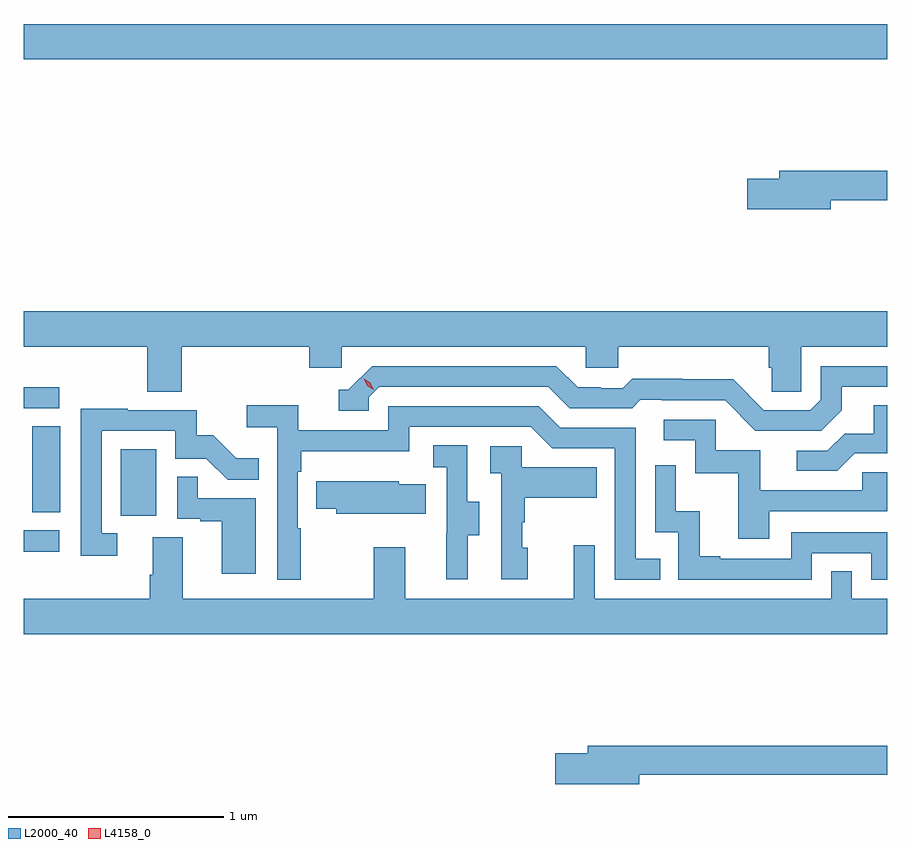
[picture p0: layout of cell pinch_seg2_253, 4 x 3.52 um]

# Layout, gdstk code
import gdstk
lib = gdstk.Library(unit=1e-6, precision=1e-09)
def R(c, l, rs):  # rectangles x0, y0, x1, y1
    for r in rs: c.add(gdstk.rectangle(r[:2], r[2:], *l))
def P(c, l, *ps):  # polygons
    for p in ps: c.add(gdstk.Polygon(p, *l))
L2000_40 = (2000, 40)
L4158_0 = (4158, 0)

pinch_seg2_253 = lib.new_cell('pinch_seg2_253')
R(pinch_seg2_253, L2000_40, [(887.037,649.351,887.2,649.449), (887.486,649.518,887.65,649.825), (887.075,649.534,887.206,649.931), (887.037,650.016,887.2,650.112), (887.037,651.632,891.037,651.796)])
P(pinch_seg2_253, L2000_40, [(890.776,650.98),(891.037,650.98),(891.037,651.116),(890.537,651.116),(890.537,651.08),(890.388,651.08),(890.388,650.938),(890.776,650.938)],
  [(887.768,650.3),(888.359,650.3),(888.359,650.202),(888.51,650.202),(888.51,650.3),(889.641,650.3),(889.641,650.202),(889.791,650.202),(889.791,650.3),(890.489,650.3),(890.489,650.202),(890.503,650.202),(890.503,650.092),(890.64,650.092),(890.64,650.3),(891.037,650.3),(891.037,650.464),(887.037,650.464),(887.037,650.3),(887.608,650.3),(887.608,650.092),(887.768,650.092)],
  [(890.827,650.005),(890.827,650.115),(891.037,650.115),(891.037,650.211),(890.73,650.211),(890.73,650.055),(890.682,650.007),(890.466,650.007),(890.324,650.149),(890.088,650.149),(890.088,650.152),(889.855,650.152),(889.813,650.109),(889.71,650.109),(889.71,650.112),(889.603,650.112),(889.504,650.211),(888.651,650.211),(888.54,650.1),(888.497,650.1),(888.497,650.004),(888.636,650.004),(888.636,650.067),(888.684,650.115),(889.467,650.115),(889.566,650.016),(889.855,650.016),(889.894,650.055),(889.993,650.055),(889.993,650.052),(890.286,650.052),(890.427,649.911),(890.733,649.911)],
  [(888.319,649.46),(888.306,649.46),(888.306,649.721),(888.323,649.721),(888.323,649.817),(888.822,649.817),(888.822,649.929),(889.386,649.929),(889.485,649.83),(889.776,649.83),(889.776,649.221),(889.985,649.221),(889.985,649.317),(889.872,649.317),(889.872,649.926),(889.522,649.926),(889.423,650.025),(888.726,650.025),(888.726,649.914),(888.308,649.914),(888.308,650.03),(888.069,650.03),(888.069,649.928),(888.21,649.928),(888.21,649.221),(888.319,649.221)],
  [(890.887,649.806),(891.037,649.806),(891.037,650.03),(890.975,650.03),(890.975,649.898),(890.84,649.898),(890.76,649.818),(890.619,649.818),(890.619,649.725),(890.806,649.725)],
  [(887.47,649.437),(887.397,649.437),(887.397,649.911),(887.739,649.911),(887.739,649.782),(887.883,649.782),(887.981,649.684),(888.125,649.684),(888.125,649.783),(888.021,649.783),(887.914,649.89),(887.838,649.89),(887.838,650.007),(887.519,650.007),(887.519,650.012),(887.301,650.012),(887.301,649.332),(887.47,649.332)],
  [(890.491,649.539),(891.037,649.539),(891.037,649.719),(890.923,649.719),(890.923,649.635),(890.449,649.635),(890.449,649.821),(890.244,649.821),(890.244,649.962),(890.001,649.962),(890.001,649.866),(890.148,649.866),(890.148,649.713),(890.347,649.713),(890.347,649.41),(890.491,649.41)],
  [(889.093,649.426),(889.147,649.426),(889.147,649.581),(889.092,649.581),(889.092,649.844),(888.933,649.844),(888.933,649.741),(888.996,649.741),(888.996,649.437),(888.995,649.437),(888.995,649.224),(889.093,649.224)],
  [(889.372,649.368),(889.347,649.368),(889.347,649.487),(889.357,649.487),(889.357,649.601),(889.691,649.601),(889.691,649.741),(889.344,649.741),(889.344,649.839),(889.197,649.839),(889.197,649.715),(889.248,649.715),(889.248,649.224),(889.372,649.224)],
  [(890.688,649.344),(890.964,649.344),(890.964,649.221),(891.037,649.221),(891.037,649.44),(890.592,649.44),(890.592,649.317),(890.263,649.317),(890.263,649.33),(890.168,649.33),(890.168,649.538),(890.058,649.538),(890.058,649.75),(889.962,649.75),(889.962,649.44),(890.07,649.44),(890.07,649.221),(890.688,649.221)],
  [(888.112,649.599),(887.843,649.599),(887.843,649.697),(887.748,649.697),(887.748,649.503),(887.855,649.503),(887.855,649.491),(887.954,649.491),(887.954,649.248),(888.112,649.248)],
  [(888.899,649.663),(888.774,649.663),(888.774,649.678),(888.502,649.678),(888.502,649.677),(888.391,649.677),(888.391,649.549),(888.485,649.549),(888.485,649.526),(888.899,649.526)],
  [(891.037,649.132),(890.874,649.132),(890.874,649.259),(890.778,649.259),(890.778,649.132),(889.683,649.132),(889.683,649.381),(889.586,649.381),(889.586,649.132),(888.805,649.132),(888.805,649.372),(888.658,649.372),(888.658,649.132),(887.773,649.132),(887.773,649.418),(887.633,649.418),(887.633,649.244),(887.621,649.244),(887.621,649.132),(887.037,649.132),(887.037,648.968),(891.037,648.968)],
  [(889.888,648.316),(891.037,648.316),(891.037,648.452),(889.649,648.452),(889.649,648.416),(889.5,648.416),(889.5,648.274),(889.888,648.274)])
P(pinch_seg2_253, L4158_0, [(888.659,650.1),(888.628,650.119),(888.612,650.152),(888.612,650.152),(888.612,650.152),(888.643,650.133),(888.659,650.1),(888.659,650.1)])

lib.write_gds('pinch_seg2_253.gds')
